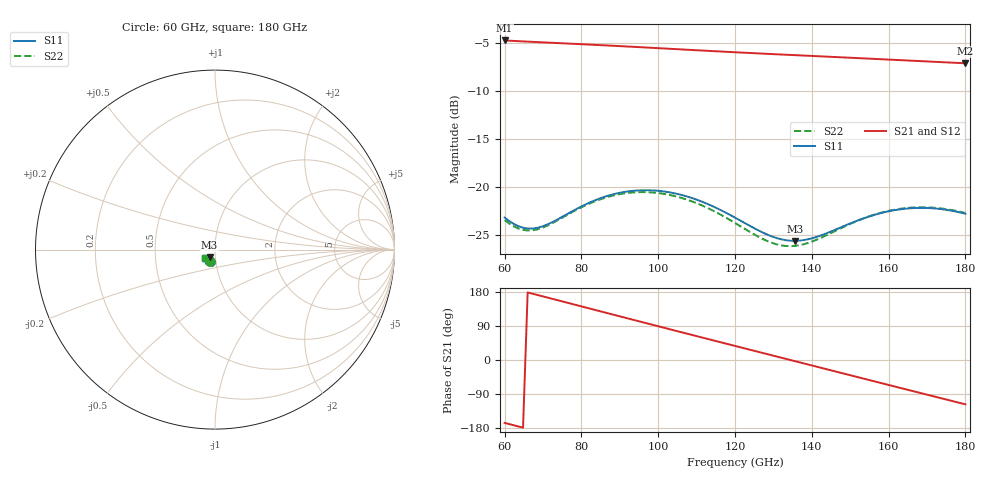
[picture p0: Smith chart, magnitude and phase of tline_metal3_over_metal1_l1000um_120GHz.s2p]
#  GHZ S DB R 50
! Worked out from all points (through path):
!   101 points, 60 GHz to 180 GHz, reference 50 ohm
!   highest |S21| = -4.71 dB at 60 GHz (marker M1); lowest = -7.1 dB at 180 GHz (marker M2)
!   group delay of S21, straight-line fit = 7.2 ps
!   lowest |S11| = -25.6 dB at 135.6 GHz (marker M3), VSWR 1.11, Z = 46.9 - j4.03 ohm
!   |S11| at or under -10 dB: start of sweep to end of sweep
!   |S22| runs from -26.2 to -20.5 dB; largest |S21 - S12| = 5.7e-14
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60  -23.19 -114.0  -4.71 -166.0  -4.71 -166.0  -23.45 -112.8
64.8  -24.25 -105.1  -4.80 -178.6  -4.80 -178.6  -24.47 -103.4
68.4  -24.27 -97.7  -4.88 172.0  -4.88 172.0  -24.43 -95.9
74.4  -23.25 -90.7  -4.99 156.2  -4.99 156.2  -23.34 -89.2
80.4  -21.95 -91.4  -5.10 140.4  -5.10 140.4  -22.04 -90.4
86.4  -20.98 -96.9  -5.22 124.7  -5.22 124.7  -21.09 -96.2
91.2  -20.51 -103.0  -5.32 112.1  -5.32 112.1  -20.66 -102.5
96  -20.34 -109.9  -5.42 99.5  -5.42 99.5  -20.53 -109.5
100.8  -20.43 -116.8  -5.53 87.0  -5.53 87.0  -20.67 -116.6
105.6  -20.78 -123.4  -5.63 74.5  -5.63 74.5  -21.08 -123.3
110.4  -21.38 -129.3  -5.74 62.0  -5.74 62.0  -21.75 -129.1
120  -23.19 -136.3  -5.94 37.2  -5.94 37.2  -23.75 -135.6
124.8  -24.25 -136.0  -6.03 24.8  -6.03 24.8  -24.90 -134.5
129.6  -25.16 -132.6  -6.13 12.4  -6.13 12.4  -25.82 -129.9
135.6  -25.62 -125.1  -6.24 -3.1  -6.24 -3.1  -26.15 -120.9
140.4  -25.31 -119.4  -6.33 -15.4  -6.33 -15.4  -25.64 -114.7
145.2  -24.61 -116.2  -6.42 -27.8  -6.42 -27.8  -24.77 -111.8
151.2  -23.61 -116.2  -6.53 -43.2  -6.53 -43.2  -23.64 -112.5
160.8  -22.47 -122.5  -6.72 -67.9  -6.72 -67.9  -22.42 -119.9
165.6  -22.22 -127.1  -6.81 -80.2  -6.81 -80.2  -22.16 -124.8
170.4  -22.20 -131.9  -6.90 -92.5  -6.90 -92.5  -22.13 -130.0
180  -22.79 -140.3  -7.09 -117.0  -7.09 -117.0  -22.71 -139.0
